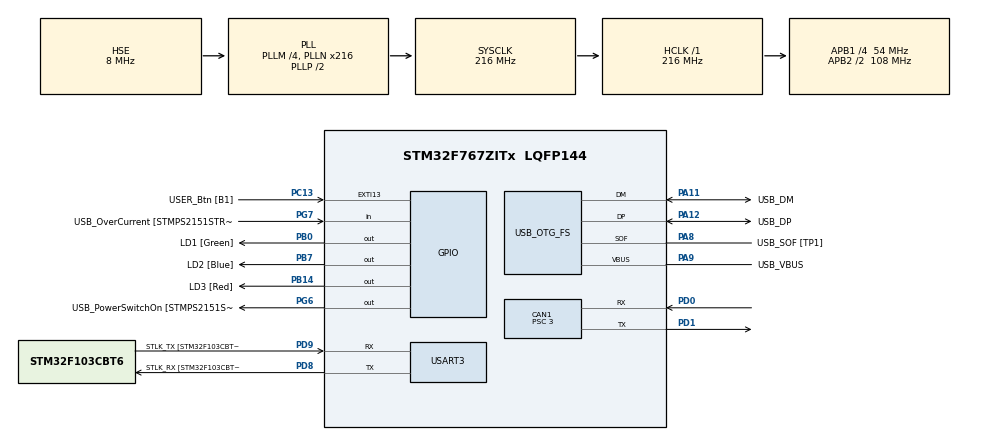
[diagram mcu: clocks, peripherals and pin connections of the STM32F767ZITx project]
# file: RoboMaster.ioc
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CAN1.BS1=CAN_BS1_13TQ
CAN1.BS2=CAN_BS2_4TQ
CAN1.CalculateBaudRate=1000000
CAN1.CalculateTimeBit=1000
CAN1.CalculateTimeQuantum=55.55555555555556
CAN1.Prescaler=3
FREERTOS.Tasks01=defaultTask,24,128,StartDefaultTask,Default,NULL,Dynamic,NULL,NULL
FREERTOS.configUSE_NEWLIB_REENTRANT=1
Mcu.Family=STM32F7
Mcu.Name=STM32F767ZITx
Mcu.Package=LQFP144
NVIC.CAN1_RX0_IRQn=true\:5\:0\:false\:false\:true\:true\:true\:true\:true
NVIC.PriorityGroup=NVIC_PRIORITYGROUP_4
NVIC.TIM6_DAC_IRQn=true\:15\:0\:false\:false\:true\:false\:false\:true\:true
NVIC.TimeBase=TIM6_DAC_IRQn
NVIC.TimeBaseIP=TIM6
PA1.GPIO_Label=RMII_REF_CLK [LAN8742A-CZ-TR_REFCLK0]
PA1.Signal=ETH_REF_CLK
PA10.GPIO_Label=USB_ID
PA10.Signal=USB_OTG_FS_ID
PA11.GPIO_Label=USB_DM
PA11.Mode=Device_Only
PA11.Signal=USB_OTG_FS_DM
PA12.GPIO_Label=USB_DP
PA12.Mode=Device_Only
PA12.Signal=USB_OTG_FS_DP
PA13.GPIO_Label=TMS
PA13.Mode=Serial_Wire
PA13.Signal=SYS_JTMS-SWDIO
PA14.GPIO_Label=TCK
PA14.Mode=Serial_Wire
PA14.Signal=SYS_JTCK-SWCLK
PA2.GPIO_Label=RMII_MDIO [LAN8742A-CZ-TR_MDIO]
PA2.Signal=ETH_MDIO
PA7.GPIO_Label=RMII_CRS_DV [LAN8742A-CZ-TR_CRS_DV]
PA7.Signal=ETH_CRS_DV
PA8.GPIO_Label=USB_SOF [TP1]
PA8.Mode=Activate_SOF_FS
PA8.Signal=USB_OTG_FS_SOF
PA9.GPIO_Label=USB_VBUS
PA9.Mode=Activate_VBUS
PA9.Signal=USB_OTG_FS_VBUS
PB0.GPIO_Label=LD1 [Green]
PB0.Signal=GPIO_Output
PB13.GPIO_Label=RMII_TXD1 [LAN8742A-CZ-TR_TXD1]
PB13.Signal=ETH_TXD1
PB14.GPIO_Label=LD3 [Red]
PB14.Signal=GPIO_Output
PB3.GPIO_Label=SWO
PB3.Signal=SYS_JTDO-SWO
PB7.GPIO_Label=LD2 [Blue]
PB7.Signal=GPIO_Output
PC1.GPIO_Label=RMII_MDC [LAN8742A-CZ-TR_MDC]
PC1.Signal=ETH_MDC
PC13.GPIO_Label=USER_Btn [B1]
PC13.Signal=GPXTI13
PC14/OSC32_IN.Mode=LSE-External-Oscillator
PC14/OSC32_IN.Signal=RCC_OSC32_IN
PC15/OSC32_OUT.Mode=LSE-External-Oscillator
PC15/OSC32_OUT.Signal=RCC_OSC32_OUT
PC4.GPIO_Label=RMII_RXD0 [LAN8742A-CZ-TR_RXD0]
PC4.Signal=ETH_RXD0
PC5.GPIO_Label=RMII_RXD1 [LAN8742A-CZ-TR_RXD1]
PC5.Signal=ETH_RXD1
PD0.Mode=CAN_Activate
PD0.Signal=CAN1_RX
PD1.Mode=CAN_Activate
PD1.Signal=CAN1_TX
PD8.GPIO_Label=STLK_RX [STM32F103CBT6_PA3]
PD8.Mode=Asynchronous
PD8.Signal=USART3_TX
PD9.GPIO_Label=STLK_TX [STM32F103CBT6_PA2]
PD9.Mode=Asynchronous
PD9.Signal=USART3_RX
PG11.GPIO_Label=RMII_TX_EN [LAN8742A-CZ-TR_TXEN]
PG11.Signal=ETH_TX_EN
PG13.GPIO_Label=RMII_TXD0 [LAN8742A-CZ-TR_TXD0]
PG13.Signal=ETH_TXD0
PG6.GPIO_Label=USB_PowerSwitchOn [STMPS2151STR_EN]
PG6.Signal=GPIO_Output
PG7.GPIO_Label=USB_OverCurrent [STMPS2151STR_FAULT]
PG7.Signal=GPIO_Input
PH0/OSC_IN.GPIO_Label=MCO [STM32F103CBT6_PA8]
PH0/OSC_IN.Mode=HSE-External-Clock-Source
PH0/OSC_IN.Signal=RCC_OSC_IN
PH1/OSC_OUT.Mode=HSE-External-Clock-Source
PH1/OSC_OUT.Signal=RCC_OSC_OUT
ProjectManager.HeapSize=0x200
ProjectManager.StackSize=0x400
ProjectManager.TargetToolchain=STM32CubeIDE
RCC.48MHZClocksFreq_Value=24000000
RCC.AHBFreq_Value=216000000
RCC.APB1CLKDivider=RCC_HCLK_DIV4
RCC.APB1Freq_Value=54000000
RCC.APB1TimFreq_Value=108000000
RCC.APB2CLKDivider=RCC_HCLK_DIV2
RCC.APB2Freq_Value=108000000
RCC.APB2TimFreq_Value=216000000
RCC.CortexFreq_Value=216000000
RCC.HCLKFreq_Value=216000000
RCC.HSE_VALUE=8000000
RCC.HSI_VALUE=16000000
RCC.PLLM=4
RCC.PLLMUL=RCC_PLL_MUL9
RCC.PLLN=216
RCC.PLLQ=9
RCC.PRESCALERUSB=RCC_USBCLKSOURCE_PLL_DIV1_5
RCC.SYSCLKFreq_VALUE=216000000
RCC.SYSCLKSource=RCC_SYSCLKSOURCE_PLLCLK
RCC.SYSCLKSourceVirtual=RCC_SYSCLKSOURCE_PLLCLK
RCC.USBFreq_Value=48000000
RCC.VCOOutputFreq_Value=432000000
USART3.VirtualMode-Asynchronous=VM_ASYNC
USB_OTG_FS.VirtualMode=Device_Only
VP_FREERTOS_VS_CMSIS_V2.Mode=CMSIS_V2
VP_SYS_VS_tim6.Mode=TIM6
board=NUCLEO-F767ZI

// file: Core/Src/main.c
/* USER CODE BEGIN Header */
/**
  ******************************************************************************
  * @file           : main.c
  * @brief          : Main program body
  ******************************************************************************
  * @attention
  *
  * Copyright (c) 2024 STMicroelectronics.
  * All rights reserved.
  *
  * This software is licensed under terms that can be found in the LICENSE file
  * in the root directory of this software component.
  * If no LICENSE file comes with this software, it is provided AS-IS.
  *
  ******************************************************************************
  */
/* USER CODE END Header */
#include "main.h"
#include "cmsis_os.h"

/* USER CODE BEGIN Includes */
#include "c610_command.c"

/* USER CODE END Includes */

CAN_HandleTypeDef hcan1;

UART_HandleTypeDef huart3;

PCD_HandleTypeDef hpcd_USB_OTG_FS;

/* Definitions for defaultTask */
osThreadId_t defaultTaskHandle;
const osThreadAttr_t defaultTask_attributes = {
  .name = "defaultTask",
  .stack_size = 128 * 4,
  .priority = (osPriority_t) osPriorityNormal,
};
/* USER CODE BEGIN PV */
CAN_TxHeaderTypeDef TxHeader;
uint32_t TxMailbox;
uint8_t TxData[8] = {0};

//c610_raw_data _c610_raw_data[4];

/* USER CODE END PV */

void SystemClock_Config(void);
static void MX_GPIO_Init(void);
static void MX_USART3_UART_Init(void);
static void MX_USB_OTG_FS_PCD_Init(void);
static void MX_CAN1_Init(void);
void StartDefaultTask(void *argument);

/* USER CODE BEGIN 0 */

void HAL_CAN_RxFifo0MsgPendingCallback(CAN_HandleTypeDef *hcan)
{
	CAN_RxHeaderTypeDef RxHeader;
	uint8_t RxData[8];

    if (HAL_CAN_GetRxMessage(hcan, CAN_RX_FIFO0, &RxHeader, RxData) == HAL_OK)
    {
        set_raw_data(RxData, RxHeader.StdId - 0x200);
        processing_data(RxHeader.StdId - 0x200);
    }
}

/* USER CODE END 0 */

int main(void)
{

  /* MCU Configuration--------------------------------------------------------*/

  /* Reset of all peripherals, Initializes the Flash interface and the Systick. */
  HAL_Init();

  /* Configure the system clock */
  SystemClock_Config();

  /* Initialize all configured peripherals */
  MX_GPIO_Init();
  MX_USART3_UART_Init();
  MX_USB_OTG_FS_PCD_Init();
  MX_CAN1_Init();
  /* USER CODE BEGIN 2 */
  HAL_CAN_Start(&hcan1);
  HAL_CAN_ActivateNotification(&hcan1, CAN_IT_RX_FIFO0_MSG_PENDING);

    if (0 < HAL_CAN_GetTxMailboxesFreeLevel(&hcan1)){
        TxHeader.StdId = 0x200;
        TxHeader.RTR = CAN_RTR_DATA;
        TxHeader.IDE = CAN_ID_STD;
        TxHeader.DLC = 8;
        TxHeader.TransmitGlobalTime = DISABLE;
    }

  /* USER CODE END 2 */

  /* Init scheduler */
  osKernelInitialize();

  /* Create the thread(s) */
  /* creation of defaultTask */
  defaultTaskHandle = osThreadNew(StartDefaultTask, NULL, &defaultTask_attributes);

  /* Start scheduler */
  osKernelStart();

  /* We should never get here as control is now taken by the scheduler */
  /* Infinite loop */
  while (1)
  {

  }
}

void SystemClock_Config(void)
{
  RCC_OscInitTypeDef RCC_OscInitStruct = {0};
  RCC_ClkInitTypeDef RCC_ClkInitStruct = {0};

  /** Configure LSE Drive Capability
  */
  HAL_PWR_EnableBkUpAccess();

  /** Configure the main internal regulator output voltage
  */
  __HAL_RCC_PWR_CLK_ENABLE();
  __HAL_PWR_VOLTAGESCALING_CONFIG(PWR_REGULATOR_VOLTAGE_SCALE1);

  /** Initializes the RCC Oscillators according to the specified parameters
  * in the RCC_OscInitTypeDef structure.
  */
  RCC_OscInitStruct.OscillatorType = RCC_OSCILLATORTYPE_HSE;
  RCC_OscInitStruct.HSEState = RCC_HSE_BYPASS;
  RCC_OscInitStruct.PLL.PLLState = RCC_PLL_ON;
  RCC_OscInitStruct.PLL.PLLSource = RCC_PLLSOURCE_HSE;
  RCC_OscInitStruct.PLL.PLLM = 4;
  RCC_OscInitStruct.PLL.PLLN = 216;
  RCC_OscInitStruct.PLL.PLLP = RCC_PLLP_DIV2;
  RCC_OscInitStruct.PLL.PLLQ = 9;
  RCC_OscInitStruct.PLL.PLLR = 2;
  if (HAL_RCC_OscConfig(&RCC_OscInitStruct) != HAL_OK)
  {
    Error_Handler();
  }

  /** Activate the Over-Drive mode
  */
  if (HAL_PWREx_EnableOverDrive() != HAL_OK)
  {
    Error_Handler();
  }

  /** Initializes the CPU, AHB and APB buses clocks
  */
  RCC_ClkInitStruct.ClockType = RCC_CLOCKTYPE_HCLK|RCC_CLOCKTYPE_SYSCLK
                              |RCC_CLOCKTYPE_PCLK1|RCC_CLOCKTYPE_PCLK2;
  RCC_ClkInitStruct.SYSCLKSource = RCC_SYSCLKSOURCE_PLLCLK;
  RCC_ClkInitStruct.AHBCLKDivider = RCC_SYSCLK_DIV1;
  RCC_ClkInitStruct.APB1CLKDivider = RCC_HCLK_DIV4;
  RCC_ClkInitStruct.APB2CLKDivider = RCC_HCLK_DIV2;

  if (HAL_RCC_ClockConfig(&RCC_ClkInitStruct, FLASH_LATENCY_7) != HAL_OK)
  {
    Error_Handler();
  }
}

static void MX_CAN1_Init(void)
{

  hcan1.Instance = CAN1;
  hcan1.Init.Prescaler = 3;
  hcan1.Init.Mode = CAN_MODE_NORMAL;
  hcan1.Init.SyncJumpWidth = CAN_SJW_1TQ;
  hcan1.Init.TimeSeg1 = CAN_BS1_13TQ;
  hcan1.Init.TimeSeg2 = CAN_BS2_4TQ;
  hcan1.Init.TimeTriggeredMode = DISABLE;
  hcan1.Init.AutoBusOff = DISABLE;
  hcan1.Init.AutoWakeUp = DISABLE;
  hcan1.Init.AutoRetransmission = DISABLE;
  hcan1.Init.ReceiveFifoLocked = DISABLE;
  hcan1.Init.TransmitFifoPriority = DISABLE;
  if (HAL_CAN_Init(&hcan1) != HAL_OK)
  {
    Error_Handler();
  }
  /* USER CODE BEGIN CAN1_Init 2 */
    CAN_FilterTypeDef filter;
    filter.FilterIdHigh         = 0;
    filter.FilterIdLow          = 0;
    filter.FilterMaskIdHigh     = 0;
    filter.FilterMaskIdLow      = 0;
    filter.FilterScale          = CAN_FILTERSCALE_32BIT;
    filter.FilterFIFOAssignment = CAN_FILTER_FIFO0;
    filter.FilterBank           = 0;
    filter.FilterMode           = CAN_FILTERMODE_IDMASK;
    filter.SlaveStartFilterBank = 14;
    filter.FilterActivation     = ENABLE;
    HAL_CAN_ConfigFilter(&hcan1, &filter);

  /* USER CODE END CAN1_Init 2 */

}

static void MX_USART3_UART_Init(void)
{

  huart3.Instance = USART3;
  huart3.Init.BaudRate = 115200;
  huart3.Init.WordLength = UART_WORDLENGTH_8B;
  huart3.Init.StopBits = UART_STOPBITS_1;
  huart3.Init.Parity = UART_PARITY_NONE;
  huart3.Init.Mode = UART_MODE_TX_RX;
  huart3.Init.HwFlowCtl = UART_HWCONTROL_NONE;
  huart3.Init.OverSampling = UART_OVERSAMPLING_16;
  huart3.Init.OneBitSampling = UART_ONE_BIT_SAMPLE_DISABLE;
  huart3.AdvancedInit.AdvFeatureInit = UART_ADVFEATURE_NO_INIT;
  if (HAL_UART_Init(&huart3) != HAL_OK)
  {
    Error_Handler();
  }

}

static void MX_USB_OTG_FS_PCD_Init(void)
{

  hpcd_USB_OTG_FS.Instance = USB_OTG_FS;
  hpcd_USB_OTG_FS.Init.dev_endpoints = 6;
  hpcd_USB_OTG_FS.Init.speed = PCD_SPEED_FULL;
  hpcd_USB_OTG_FS.Init.dma_enable = DISABLE;
  hpcd_USB_OTG_FS.Init.phy_itface = PCD_PHY_EMBEDDED;
  hpcd_USB_OTG_FS.Init.Sof_enable = ENABLE;
  hpcd_USB_OTG_FS.Init.low_power_enable = DISABLE;
  hpcd_USB_OTG_FS.Init.lpm_enable = DISABLE;
  hpcd_USB_OTG_FS.Init.vbus_sensing_enable = ENABLE;
  hpcd_USB_OTG_FS.Init.use_dedicated_ep1 = DISABLE;
  if (HAL_PCD_Init(&hpcd_USB_OTG_FS) != HAL_OK)
  {
    Error_Handler();
  }

}

static void MX_GPIO_Init(void)
{
  GPIO_InitTypeDef GPIO_InitStruct = {0};

  /* GPIO Ports Clock Enable */
  __HAL_RCC_GPIOC_CLK_ENABLE();
  __HAL_RCC_GPIOH_CLK_ENABLE();
  __HAL_RCC_GPIOA_CLK_ENABLE();
  __HAL_RCC_GPIOB_CLK_ENABLE();
  __HAL_RCC_GPIOD_CLK_ENABLE();
  __HAL_RCC_GPIOG_CLK_ENABLE();

  /*Configure GPIO pin Output Level */
  HAL_GPIO_WritePin(GPIOB, LD1_Pin|LD3_Pin|LD2_Pin, GPIO_PIN_RESET);

  /*Configure GPIO pin Output Level */
  HAL_GPIO_WritePin(USB_PowerSwitchOn_GPIO_Port, USB_PowerSwitchOn_Pin, GPIO_PIN_RESET);

  /*Configure GPIO pin : USER_Btn_Pin */
  GPIO_InitStruct.Pin = USER_Btn_Pin;
  GPIO_InitStruct.Mode = GPIO_MODE_IT_RISING;
  GPIO_InitStruct.Pull = GPIO_NOPULL;
  HAL_GPIO_Init(USER_Btn_GPIO_Port, &GPIO_InitStruct);

  /*Configure GPIO pins : RMII_MDC_Pin RMII_RXD0_Pin RMII_RXD1_Pin */
  GPIO_InitStruct.Pin = RMII_MDC_Pin|RMII_RXD0_Pin|RMII_RXD1_Pin;
  GPIO_InitStruct.Mode = GPIO_MODE_AF_PP;
  GPIO_InitStruct.Pull = GPIO_NOPULL;
  GPIO_InitStruct.Speed = GPIO_SPEED_FREQ_VERY_HIGH;
  GPIO_InitStruct.Alternate = GPIO_AF11_ETH;
  HAL_GPIO_Init(GPIOC, &GPIO_InitStruct);

  /*Configure GPIO pins : RMII_REF_CLK_Pin RMII_MDIO_Pin RMII_CRS_DV_Pin */
  GPIO_InitStruct.Pin = RMII_REF_CLK_Pin|RMII_MDIO_Pin|RMII_CRS_DV_Pin;
  GPIO_InitStruct.Mode = GPIO_MODE_AF_PP;
  GPIO_InitStruct.Pull = GPIO_NOPULL;
  GPIO_InitStruct.Speed = GPIO_SPEED_FREQ_VERY_HIGH;
  GPIO_InitStruct.Alternate = GPIO_AF11_ETH;
  HAL_GPIO_Init(GPIOA, &GPIO_InitStruct);

  /*Configure GPIO pins : LD1_Pin LD3_Pin LD2_Pin */
  GPIO_InitStruct.Pin = LD1_Pin|LD3_Pin|LD2_Pin;
  GPIO_InitStruct.Mode = GPIO_MODE_OUTPUT_PP;
  GPIO_InitStruct.Pull = GPIO_NOPULL;
  GPIO_InitStruct.Speed = GPIO_SPEED_FREQ_LOW;
  HAL_GPIO_Init(GPIOB, &GPIO_InitStruct);

  /*Configure GPIO pin : RMII_TXD1_Pin */
  GPIO_InitStruct.Pin = RMII_TXD1_Pin;
  GPIO_InitStruct.Mode = GPIO_MODE_AF_PP;
  GPIO_InitStruct.Pull = GPIO_NOPULL;
  GPIO_InitStruct.Speed = GPIO_SPEED_FREQ_VERY_HIGH;
  GPIO_InitStruct.Alternate = GPIO_AF11_ETH;
  HAL_GPIO_Init(RMII_TXD1_GPIO_Port, &GPIO_InitStruct);

  /*Configure GPIO pin : USB_PowerSwitchOn_Pin */
  GPIO_InitStruct.Pin = USB_PowerSwitchOn_Pin;
  GPIO_InitStruct.Mode = GPIO_MODE_OUTPUT_PP;
  GPIO_InitStruct.Pull = GPIO_NOPULL;
  GPIO_InitStruct.Speed = GPIO_SPEED_FREQ_LOW;
  HAL_GPIO_Init(USB_PowerSwitchOn_GPIO_Port, &GPIO_InitStruct);

  /*Configure GPIO pin : USB_OverCurrent_Pin */
  GPIO_InitStruct.Pin = USB_OverCurrent_Pin;
  GPIO_InitStruct.Mode = GPIO_MODE_INPUT;
  GPIO_InitStruct.Pull = GPIO_NOPULL;
  HAL_GPIO_Init(USB_OverCurrent_GPIO_Port, &GPIO_InitStruct);

  /*Configure GPIO pins : RMII_TX_EN_Pin RMII_TXD0_Pin */
  GPIO_InitStruct.Pin = RMII_TX_EN_Pin|RMII_TXD0_Pin;
  GPIO_InitStruct.Mode = GPIO_MODE_AF_PP;
  GPIO_InitStruct.Pull = GPIO_NOPULL;
  GPIO_InitStruct.Speed = GPIO_SPEED_FREQ_VERY_HIGH;
  GPIO_InitStruct.Alternate = GPIO_AF11_ETH;
  HAL_GPIO_Init(GPIOG, &GPIO_InitStruct);

}

void StartDefaultTask(void *argument)
{
  /* USER CODE BEGIN 5 */
  int current = 0;
  TxData[0] = current >> 8;
  TxData[1] = current;
  /* Infinite loop */
  for(;;)
  {
      HAL_GPIO_TogglePin(LD1_GPIO_Port, LD1_Pin);
      HAL_CAN_AddTxMessage(&hcan1, &TxHeader, TxData, &TxMailbox);
      osDelay(100);
  }
  /* USER CODE END 5 */
}

void HAL_TIM_PeriodElapsedCallback(TIM_HandleTypeDef *htim)
{
  if (htim->Instance == TIM6) {
    HAL_IncTick();
  }
}

void Error_Handler(void)
{
  __disable_irq();
  while (1)
  {
  }
}
